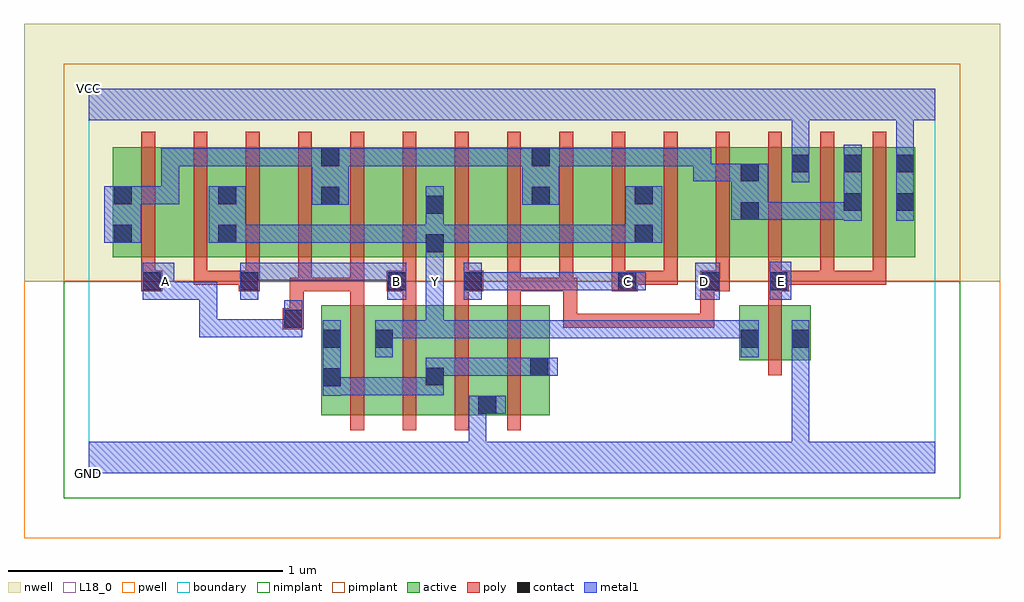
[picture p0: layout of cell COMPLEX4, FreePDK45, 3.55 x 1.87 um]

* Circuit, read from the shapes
.subckt COMPLEX4 A B C D E GND VCC Y
M1 Y A n1 VSUBS nfet w=0.4u l=0.05u
M2 n1 B Y VSUBS nfet w=0.4u l=0.05u
M3 GND C n1 VSUBS nfet w=0.4u l=0.05u
M4 n1 D GND VSUBS nfet w=0.4u l=0.05u
M5 GND E Y VSUBS nfet w=0.2u l=0.05u
M6 n2 A n3 n4 pfet w=0.4u l=0.05u
M7 Y B n2 n4 pfet w=0.4u l=0.05u
M8 n5 B Y n4 pfet w=0.4u l=0.05u
M9 n3 A n5 n4 pfet w=0.4u l=0.05u
M10 n6 A n3 n4 pfet w=0.4u l=0.05u
M11 Y B n6 n4 pfet w=0.4u l=0.05u
M12 n7 C Y n4 pfet w=0.4u l=0.05u
M13 n3 D n7 n4 pfet w=0.4u l=0.05u
M14 n8 D n3 n4 pfet w=0.4u l=0.05u
M15 Y C n8 n4 pfet w=0.4u l=0.05u
M16 n9 C Y n4 pfet w=0.4u l=0.05u
M17 n3 D n9 n4 pfet w=0.4u l=0.05u
M18 VCC E n3 n4 pfet w=0.4u l=0.05u m=3
.ends

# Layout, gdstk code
import gdstk
lib = gdstk.Library(unit=1e-6, precision=1e-09)
def R(c, l, rs):  # rectangles x0, y0, x1, y1
    for r in rs: c.add(gdstk.rectangle(r[:2], r[2:], *l))
def A(c, l, x, y, w, h, nx, ny, dx, dy):  # array of equal rectangles
    R(c, l, [(x+i*dx, y+j*dy, x+i*dx+w, y+j*dy+h) for i in range(nx) for j in range(ny)])
active = (1, 0)
pwell = (2, 0)
nwell = (3, 0)
nimplant = (4, 0)
pimplant = (5, 0)
poly = (9, 0)
contact = (10, 0)
metal1 = (11, 0)
L18_0 = (18, 0)
boundary = (235, 0)

complex4 = lib.new_cell('COMPLEX4')
R(complex4, active, [(0.847,0.212,1.112,0.612), (1.037,0.212,1.297,0.612), (1.222,0.212,1.487,0.612), (1.412,0.212,1.677,0.612), (1.412,0.212,1.487,0.492), (0.847,0.245,0.922,0.612), (1.037,0.245,1.112,0.527), (1.222,0.245,1.297,0.492), (1.602,0.245,1.677,0.612), (2.367,0.412,2.627,0.612), (2.367,0.445,2.442,0.612), (2.552,0.445,2.627,0.612), (0.087,0.787,0.312,1.187), (0.087,0.787,0.162,1.155), (0.312,0.787,0.542,1.187), (0.467,0.787,0.542,1.07), (0.467,0.787,0.692,1.187), (0.692,0.787,0.917,1.187), (0.842,0.787,1.072,1.187), (1.072,0.787,1.297,1.187), (1.222,0.787,1.452,1.187), (1.222,0.787,1.297,1.07), (1.452,0.787,1.682,1.187), (1.607,0.787,1.832,1.187), (1.832,0.787,2.057,1.187), (1.982,0.787,2.212,1.187), (1.982,0.787,2.057,1.07), (2.212,0.787,2.442,1.187), (2.367,0.787,2.627,1.187), (2.552,0.787,2.817,1.187), (2.742,0.787,3.007,1.187), (2.932,0.787,3.007,1.165), (0.842,0.907,0.917,1.187), (1.607,0.907,1.682,1.187), (2.367,0.907,2.442,1.155), (2.552,0.907,2.627,1.187), (2.742,0.907,2.817,1.165)])
R(complex4, pwell, [(-0.235,-0.235,3.315,0.7)])
R(complex4, nwell, [(-0.235,0.7,3.315,1.635)])
R(complex4, nimplant, [(-0.09,-0.09,3.17,0.7)])
R(complex4, pimplant, [(-0.09,0.7,3.17,1.49)])
A(complex4, poly, 0.952, 0.157, 0.05, 0.51, 4, 1, 0.19, 0)
A(complex4, poly, 0.952, 0.617, 0.05, 0.095, 4, 1, 0.19, 0)
A(complex4, poly, 0.192, 0.687, 0.05, 0.095, 3, 1, 0.19, 0)
A(complex4, poly, 1.902, 0.687, 0.05, 0.095, 6, 1, 0.19, 0)
A(complex4, poly, 0.192, 0.732, 0.05, 0.51, 15, 1, 0.19, 0)
R(complex4, poly, [(2.472,0.357,2.522,0.667), (0.707,0.525,0.782,0.6), (1.727,0.53,1.777,0.58), (1.727,0.53,1.777,0.58), (1.727,0.53,1.777,0.58), (1.727,0.53,1.777,0.58), (1.727,0.53,1.777,0.58), (1.727,0.53,1.777,0.712), (1.727,0.53,2.01,0.58), (1.96,0.53,2.01,0.58), (1.96,0.53,2.01,0.58), (1.96,0.53,2.01,0.58), (1.96,0.53,2.142,0.58), (2.092,0.53,2.142,0.58), (2.092,0.53,2.142,0.58), (2.092,0.53,2.142,0.58), (2.092,0.53,2.275,0.58), (2.225,0.53,2.275,0.58), (2.225,0.53,2.275,0.712), (0.732,0.55,0.782,0.6), (0.732,0.55,0.782,0.6), (0.732,0.55,0.782,0.712), (2.472,0.617,2.522,0.712), (0.192,0.662,0.267,0.737), (0.547,0.662,0.622,0.737), (0.732,0.662,0.812,0.712), (0.762,0.662,1.002,0.712), (0.762,0.662,0.812,0.712), (0.762,0.662,0.812,0.712), (0.762,0.662,0.812,0.782), (0.952,0.662,1.002,0.712), (0.952,0.662,1.002,0.782), (1.085,0.662,1.192,0.737), (1.332,0.662,1.435,0.737), (1.522,0.662,1.762,0.712), (1.522,0.662,1.572,0.712), (1.522,0.662,1.572,0.712), (1.522,0.662,1.572,0.712), (1.522,0.662,1.572,0.782), (1.712,0.662,1.762,0.782), (1.712,0.662,1.777,0.712), (1.902,0.662,1.997,0.737), (2.225,0.662,2.275,0.712), (2.225,0.662,2.275,0.712), (2.225,0.662,2.332,0.737), (2.472,0.662,2.547,0.737), (0.382,0.687,0.432,0.737), (0.382,0.687,0.597,0.737), (0.547,0.687,0.597,0.737), (0.547,0.687,0.597,0.737), (1.142,0.687,1.192,0.782), (1.332,0.687,1.382,0.782), (1.947,0.687,1.997,0.737), (1.947,0.687,1.997,0.737), (1.947,0.687,2.142,0.737), (2.092,0.687,2.142,0.737), (2.497,0.687,2.547,0.737), (2.497,0.687,2.547,0.737), (2.497,0.687,2.712,0.737), (2.662,0.687,2.902,0.737), (2.662,0.687,2.712,0.737), (2.662,0.687,2.712,0.737), (2.662,0.687,2.712,0.737), (2.852,0.687,2.902,0.737)])
A(complex4, contact, 2.557, 1.095, 0.065, 0.065, 3, 1, 0.19, 0)
R(complex4, contact, [(1.417,0.217,1.482,0.282), (0.852,0.317,0.917,0.382), (1.227,0.32,1.292,0.385), (1.607,0.355,1.672,0.42), (0.852,0.457,0.917,0.522), (1.042,0.457,1.107,0.522), (2.372,0.457,2.437,0.522), (2.557,0.457,2.622,0.522), (0.712,0.53,0.777,0.595), (0.197,0.667,0.262,0.732), (0.552,0.667,0.617,0.732), (1.09,0.667,1.155,0.732), (1.365,0.667,1.43,0.732), (1.927,0.667,1.992,0.732), (2.23,0.667,2.295,0.732), (2.477,0.667,2.542,0.732), (1.227,0.805,1.292,0.87), (0.092,0.84,0.157,0.905), (0.472,0.84,0.537,0.905), (1.987,0.84,2.052,0.905), (2.372,0.922,2.437,0.987), (1.227,0.945,1.292,1.01), (2.747,0.955,2.812,1.02), (2.937,0.955,3.002,1.02), (0.847,0.977,0.912,1.042), (1.612,0.977,1.677,1.042), (0.092,0.98,0.157,1.045), (0.472,0.98,0.537,1.045), (1.987,0.98,2.052,1.045), (2.372,1.062,2.437,1.127), (0.847,1.117,0.912,1.182), (1.612,1.117,1.677,1.182)])
R(complex4, metal1, [(0,0,3.08,0.115), (1.382,0.05,1.447,0.282), (2.557,0.05,2.622,0.115), (2.557,0.05,2.622,0.115), (2.557,0.05,2.622,0.115), (2.557,0.05,2.622,0.115), (2.557,0.05,2.622,0.115), (2.557,0.05,2.622,0.115), (2.557,0.05,2.622,0.487), (1.382,0.217,1.447,0.282), (1.382,0.217,1.447,0.282), (1.382,0.217,1.517,0.282), (0.852,0.282,0.917,0.557), (0.852,0.285,0.917,0.35), (0.852,0.285,0.917,0.35), (0.852,0.285,1.085,0.35), (1.02,0.285,1.085,0.35), (1.02,0.285,1.085,0.35), (1.02,0.285,1.085,0.35), (1.02,0.285,1.292,0.35), (1.227,0.285,1.292,0.42), (1.227,0.355,1.292,0.42), (1.227,0.355,1.292,0.42), (1.227,0.355,1.43,0.42), (1.365,0.355,1.43,0.42), (1.365,0.355,1.575,0.42), (1.51,0.355,1.575,0.42), (1.51,0.355,1.637,0.42), (1.572,0.355,1.707,0.42), (1.042,0.422,1.107,0.557), (2.372,0.422,2.437,0.557), (2.557,0.422,2.622,0.557), (1.042,0.492,1.107,0.557), (1.042,0.492,1.107,0.557), (1.042,0.492,1.292,0.557), (1.227,0.492,1.292,0.557), (1.227,0.492,1.437,0.557), (1.227,0.492,1.292,0.697), (1.372,0.492,1.437,0.557), (1.372,0.492,1.437,0.557), (1.372,0.492,1.437,0.557), (1.372,0.492,1.575,0.557), (1.51,0.492,1.575,0.557), (1.51,0.492,1.575,0.557), (1.51,0.492,1.575,0.557), (1.51,0.492,1.712,0.557), (1.647,0.492,1.712,0.557), (1.647,0.492,1.85,0.557), (1.785,0.492,1.85,0.557), (1.785,0.492,1.85,0.557), (1.785,0.492,1.85,0.557), (1.785,0.492,2.125,0.557), (2.06,0.492,2.125,0.557), (2.06,0.492,2.125,0.557), (2.06,0.492,2.125,0.557), (2.06,0.492,2.265,0.557), (2.2,0.492,2.265,0.557), (2.2,0.492,2.265,0.557), (2.2,0.492,2.265,0.557), (2.2,0.492,2.437,0.557), (0.402,0.495,0.467,0.56), (0.402,0.495,0.617,0.56), (0.402,0.495,0.467,0.697), (0.552,0.495,0.617,0.56), (0.552,0.495,0.74,0.56), (0.675,0.495,0.74,0.56), (0.675,0.495,0.74,0.56), (0.675,0.495,0.74,0.56), (0.675,0.495,0.777,0.56), (0.712,0.495,0.777,0.63), (0.197,0.632,0.312,0.767), (0.247,0.632,0.33,0.697), (0.265,0.632,0.33,0.697), (0.265,0.632,0.467,0.697), (0.402,0.632,0.467,0.697), (0.402,0.632,0.467,0.697), (0.402,0.632,0.467,0.697), (0.552,0.632,0.617,0.767), (1.087,0.632,1.155,0.767), (1.227,0.632,1.292,0.767), (1.365,0.632,1.43,0.767), (2.207,0.632,2.295,0.767), (2.477,0.632,2.555,0.77), (1.365,0.667,1.43,0.732), (1.365,0.667,1.43,0.732), (1.365,0.667,1.575,0.732), (1.51,0.667,1.575,0.732), (1.51,0.667,1.575,0.732), (1.51,0.667,1.575,0.732), (1.51,0.667,1.712,0.732), (1.647,0.667,1.712,0.732), (1.647,0.667,1.85,0.732), (1.785,0.667,1.85,0.732), (1.785,0.667,1.957,0.732), (1.892,0.667,2.027,0.732), (0.552,0.702,0.74,0.767), (0.675,0.702,0.74,0.767), (0.675,0.702,0.777,0.767), (0.712,0.702,0.777,0.767), (0.712,0.702,0.917,0.767), (0.852,0.702,0.917,0.767), (0.852,0.702,0.917,0.767), (0.852,0.702,0.917,0.767), (0.852,0.702,1.152,0.767), (1.087,0.702,1.152,0.767), (1.087,0.702,1.152,0.767), (1.227,0.702,1.292,0.835), (1.227,0.77,1.292,1.045), (0.057,0.84,0.192,1.045), (0.437,0.84,0.572,1.045), (0.507,0.84,0.64,0.905), (0.575,0.84,0.64,0.905), (0.575,0.84,0.74,0.905), (0.675,0.84,0.74,0.905), (0.675,0.84,0.777,0.905), (0.712,0.84,0.777,0.905), (0.712,0.84,0.947,0.905), (0.882,0.84,0.947,0.905), (0.882,0.84,0.947,0.905), (0.882,0.84,0.947,0.905), (0.882,0.84,1.155,0.905), (1.09,0.84,1.155,0.905), (1.09,0.84,1.155,0.905), (1.09,0.84,1.155,0.905), (1.09,0.84,1.292,0.905), (1.227,0.84,1.292,0.905), (1.227,0.84,1.292,0.905), (1.227,0.84,1.43,0.905), (1.365,0.84,1.43,0.905), (1.365,0.84,1.575,0.905), (1.51,0.84,1.575,0.905), (1.51,0.84,1.575,0.905), (1.51,0.84,1.575,0.905), (1.51,0.84,1.712,0.905), (1.647,0.84,1.712,0.905), (1.647,0.84,1.85,0.905), (1.785,0.84,1.85,0.905), (1.785,0.84,1.987,0.905), (1.922,0.84,1.987,0.905), (1.922,0.84,2.017,0.905), (1.952,0.84,2.087,1.045), (2.747,0.92,2.812,1.195), (2.937,0.92,3.002,1.195), (2.337,0.922,2.472,1.127), (2.407,0.922,2.472,0.987), (2.407,0.922,2.472,0.987), (2.407,0.922,2.61,0.987), (2.545,0.922,2.61,0.987), (2.545,0.922,2.812,0.987), (2.747,0.922,2.812,0.987), (2.747,0.922,2.812,0.987), (0.812,0.977,0.947,1.182), (1.577,0.977,1.712,1.182), (0.127,0.98,0.192,1.045), (0.127,0.98,0.192,1.045), (0.127,0.98,0.33,1.045), (0.265,0.98,0.33,1.045), (0.265,0.98,0.33,1.182), (2.557,1.06,2.622,1.195), (2.2,1.062,2.265,1.127), (2.2,1.062,2.265,1.127), (2.2,1.062,2.265,1.127), (2.2,1.062,2.402,1.127), (2.2,1.062,2.265,1.182), (0.265,1.117,0.33,1.182), (0.265,1.117,0.48,1.182), (0.415,1.117,0.48,1.182), (0.415,1.117,0.48,1.182), (0.415,1.117,0.48,1.182), (0.415,1.117,0.617,1.182), (0.552,1.117,0.617,1.182), (0.552,1.117,0.74,1.182), (0.675,1.117,0.74,1.182), (0.675,1.117,0.78,1.182), (0.715,1.117,0.78,1.182), (0.715,1.117,0.877,1.182), (0.882,1.117,0.947,1.182), (0.882,1.117,0.947,1.182), (0.882,1.117,1.155,1.182), (1.09,1.117,1.155,1.182), (1.09,1.117,1.155,1.182), (1.09,1.117,1.155,1.182), (1.09,1.117,1.292,1.182), (1.227,1.117,1.292,1.182), (1.227,1.117,1.292,1.182), (1.227,1.117,1.292,1.182), (1.227,1.117,1.43,1.182), (1.365,1.117,1.43,1.182), (1.365,1.117,1.575,1.182), (1.51,1.117,1.575,1.182), (1.51,1.117,1.642,1.182), (1.647,1.117,1.712,1.182), (1.647,1.117,1.712,1.182), (1.647,1.117,1.85,1.182), (1.785,1.117,1.85,1.182), (1.785,1.117,1.987,1.182), (1.922,1.117,1.987,1.182), (1.922,1.117,1.987,1.182), (1.922,1.117,1.987,1.182), (1.922,1.117,2.127,1.182), (2.062,1.117,2.127,1.182), (2.062,1.117,2.265,1.182), (2.2,1.117,2.265,1.182), (2.557,1.13,2.622,1.35), (2.937,1.13,3.002,1.35), (0,1.285,3.08,1.4)])
A(complex4, L18_0, 1.927, 0.667, 0.065, 0.065, 3, 1, 0.28, 0)
R(complex4, L18_0, [(0,0,3.08,0.115), (1.382,0.05,1.447,0.282), (2.557,0.05,2.622,0.115), (2.557,0.05,2.622,0.115), (2.557,0.05,2.622,0.115), (2.557,0.05,2.622,0.115), (2.557,0.05,2.622,0.115), (2.557,0.05,2.622,0.115), (2.557,0.05,2.622,0.487), (1.382,0.217,1.447,0.282), (1.382,0.217,1.447,0.282), (1.382,0.217,1.517,0.282), (1.042,0.422,1.107,0.557), (2.372,0.422,2.437,0.557), (2.557,0.422,2.622,0.557), (1.042,0.492,1.107,0.557), (1.042,0.492,1.107,0.557), (1.042,0.492,1.292,0.557), (1.227,0.492,1.292,0.557), (1.227,0.492,1.292,0.697), (1.227,0.492,1.437,0.557), (1.372,0.492,1.437,0.557), (1.372,0.492,1.437,0.557), (1.372,0.492,1.437,0.557), (1.372,0.492,1.575,0.557), (1.51,0.492,1.575,0.557), (1.51,0.492,1.575,0.557), (1.51,0.492,1.575,0.557), (1.51,0.492,1.712,0.557), (1.647,0.492,1.712,0.557), (1.647,0.492,1.85,0.557), (1.785,0.492,1.85,0.557), (1.785,0.492,1.85,0.557), (1.785,0.492,1.85,0.557), (1.785,0.492,2.125,0.557), (2.06,0.492,2.125,0.557), (2.06,0.492,2.125,0.557), (2.06,0.492,2.125,0.557), (2.06,0.492,2.265,0.557), (2.2,0.492,2.265,0.557), (2.2,0.492,2.265,0.557), (2.2,0.492,2.265,0.557), (2.2,0.492,2.437,0.557), (0.402,0.495,0.467,0.56), (0.402,0.495,0.467,0.697), (0.402,0.495,0.617,0.56), (0.552,0.495,0.617,0.56), (0.552,0.495,0.74,0.56), (0.675,0.495,0.74,0.56), (0.675,0.495,0.74,0.56), (0.675,0.495,0.74,0.56), (0.675,0.495,0.777,0.56), (0.712,0.495,0.777,0.63), (0.197,0.632,0.312,0.767), (0.247,0.632,0.33,0.697), (0.265,0.632,0.33,0.697), (0.265,0.632,0.467,0.697), (0.402,0.632,0.467,0.697), (0.402,0.632,0.467,0.697), (0.402,0.632,0.467,0.697), (0.552,0.632,0.617,0.767), (1.087,0.632,1.155,0.767), (1.227,0.632,1.292,0.767), (1.365,0.632,1.43,0.767), (2.207,0.632,2.295,0.767), (2.477,0.632,2.555,0.77), (0.247,0.667,0.312,0.732), (1.087,0.667,1.152,0.732), (1.227,0.667,1.292,0.732), (1.365,0.667,1.43,0.732), (1.365,0.667,1.43,0.732), (1.365,0.667,1.575,0.732), (1.51,0.667,1.575,0.732), (1.51,0.667,1.575,0.732), (1.51,0.667,1.575,0.732), (1.51,0.667,1.712,0.732), (1.647,0.667,1.712,0.732), (1.647,0.667,1.85,0.732), (1.785,0.667,1.85,0.732), (1.785,0.667,1.957,0.732), (1.892,0.667,2.027,0.732), (0.552,0.702,0.74,0.767), (0.675,0.702,0.74,0.767), (0.675,0.702,0.777,0.767), (0.712,0.702,0.777,0.767), (0.712,0.702,0.917,0.767), (0.852,0.702,0.917,0.767), (0.852,0.702,0.917,0.767), (0.852,0.702,0.917,0.767), (0.852,0.702,1.152,0.767), (1.087,0.702,1.152,0.767), (1.087,0.702,1.152,0.767), (1.227,0.702,1.292,0.835), (1.227,0.77,1.292,1.045), (0.437,0.84,0.572,1.045), (0.507,0.84,0.64,0.905), (0.575,0.84,0.64,0.905), (0.575,0.84,0.74,0.905), (0.675,0.84,0.74,0.905), (0.675,0.84,0.777,0.905), (0.712,0.84,0.777,0.905), (0.712,0.84,0.947,0.905), (0.882,0.84,0.947,0.905), (0.882,0.84,0.947,0.905), (0.882,0.84,0.947,0.905), (0.882,0.84,1.155,0.905), (1.09,0.84,1.155,0.905), (1.09,0.84,1.155,0.905), (1.09,0.84,1.155,0.905), (1.09,0.84,1.292,0.905), (1.227,0.84,1.292,0.905), (1.227,0.84,1.292,0.905), (1.227,0.84,1.43,0.905), (1.365,0.84,1.43,0.905), (1.365,0.84,1.575,0.905), (1.51,0.84,1.575,0.905), (1.51,0.84,1.575,0.905), (1.51,0.84,1.575,0.905), (1.51,0.84,1.712,0.905), (1.647,0.84,1.712,0.905), (1.647,0.84,1.85,0.905), (1.785,0.84,1.85,0.905), (1.785,0.84,1.987,0.905), (1.922,0.84,1.987,0.905), (1.922,0.84,2.017,0.905), (1.952,0.84,2.087,1.045), (2.937,0.92,3.002,1.195), (2.557,1.06,2.622,1.195), (2.557,1.13,2.622,1.35), (2.937,1.13,3.002,1.35), (0,1.285,3.08,1.4)])
R(complex4, boundary, [(0,0,3.08,1.4)])
complex4.add(gdstk.Label('A', (0.28,0.7), layer=11, texttype=0))
complex4.add(gdstk.Label('B', (1.12,0.7), layer=11, texttype=0))
complex4.add(gdstk.Label('C', (1.96,0.7), layer=11, texttype=0))
complex4.add(gdstk.Label('D', (2.24,0.7), layer=11, texttype=0))
complex4.add(gdstk.Label('E', (2.52,0.7), layer=11, texttype=0))
complex4.add(gdstk.Label('Y', (1.26,0.7), layer=11, texttype=0))
complex4.add(gdstk.Label('VCC', (0,1.4), layer=11, texttype=0))
complex4.add(gdstk.Label('GND', (0,0), layer=11, texttype=0))

lib.write_gds('COMPLEX4.gds')
